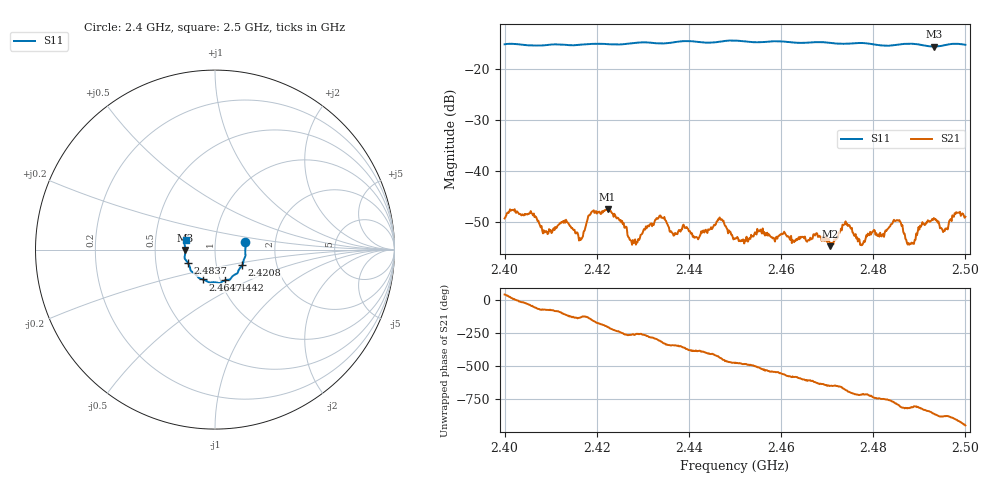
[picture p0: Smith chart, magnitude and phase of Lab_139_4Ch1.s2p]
# Hz S RI R 50
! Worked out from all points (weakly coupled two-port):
!   601 points, 2.4 GHz to 2.5 GHz, reference 50 ohm
!   highest |S21| = -47.44 dB at 2.4223 GHz (marker M1); lowest = -54.7 dB at 2.4707 GHz (marker M2)
!   lowest |S11| = -15.7 dB at 2.4932 GHz (marker M3), VSWR 1.39, Z = 35.8 - j0.105 ohm
!   |S11| at or under -10 dB: start of sweep to end of sweep
!   S12 and S22 are empty: the file has one direction only
!   S11 on the Smith chart (normalised r, x): 2.4 GHz: 1.40, +0.12; 2.4208 GHz: 1.33, -0.24; 2.4442 GHz: 1.05, -0.37; 2.4647 GHz: 0.83, -0.28; 2.4837 GHz: 0.73, -0.11; 2.5 GHz: 0.72, +0.08
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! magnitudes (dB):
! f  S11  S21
! 2.4 GHz  -15.2  -49.3
! 2.4167 GHz  -15.3  -53.3
! 2.4187 GHz  -15.1  -48.4
! 2.4208 GHz  -15.1  -48.4
! 2.4223 GHz  -15.2  -47.4
! 2.4282 GHz  -14.9  -54.0
! 2.4333 GHz  -15.0  -49.3
! 2.437 GHz  -14.8  -52.1
! 2.4442 GHz  -14.9  -51.4
! 2.447 GHz  -14.7  -49.4
! 2.45 GHz  -14.5  -53.3
! 2.4647 GHz  -14.9  -52.9
! 2.4667 GHz  -14.8  -53.2
! 2.4707 GHz  -14.9  -54.7
! 2.4738 GHz  -15.1  -50.4
! 2.4777 GHz  -15.0  -54.4
! 2.4833 GHz  -15.5  -51.2
! 2.4837 GHz  -15.5  -50.8
! 2.4855 GHz  -15.3  -49.7
! 2.4883 GHz  -15.1  -54.0
! 2.4932 GHz  -15.7  -49.2
! 2.5 GHz  -15.3  -49.0
